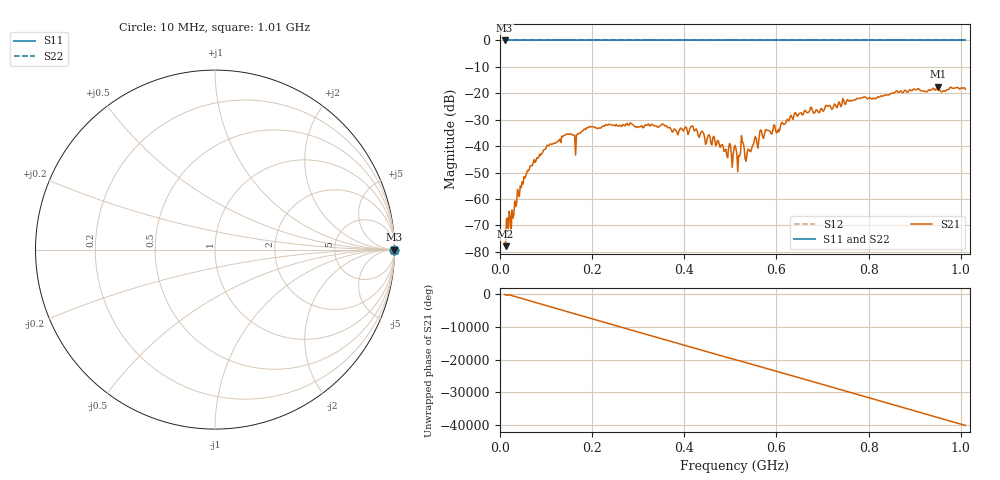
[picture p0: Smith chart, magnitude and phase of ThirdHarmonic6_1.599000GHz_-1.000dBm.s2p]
! 8/16/2025 7:03:53 PM
! C:\ANRITSUVNA\TEMP\TEMP.S2P
! CHANNEL.1
! TR.MEASUREMENT
! RAW.DATA
! RF.CORRECTION.OFF
! AVERAGING.OFF
! IF.BANDWIDTH: 5KHZ
! SWEEPTYPE:  FREQ.SWEEP(Linear)
! Reference Plane Port Info
! PORT:  PORT1  PORT2
! DISTANCE:  0  m  0  m
! TIME:  0  s  0  s
! PHASE.OFFSET:  0  deg.  0  deg.
! LOSS:  0  dB  0  dB
! REF.LOSS:  0  dB  0  dB
! REF.FREQ:  0  Hz  0  Hz
! Power Info
! POWER:  -20  dBm  -20  dBm
! EFF.POWER:  -20  dBm  -20  dBm
! SOURCE.ATTEN:  0  dB  0  dB
! TEST.ATTEN:  0  dB  0  dB
# GHZ S RI R 50.0
! FREQ.GHZ  S11RE  S11IM  S21RE  S21IM  S12RE  S12IM  S22RE  S22IM
!; PortSelection: Port_12
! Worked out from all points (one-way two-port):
!   501 points, 10 MHz to 1.01 GHz, reference 50 ohm
!   highest |S21| = -17.48 dB at 950 MHz (marker M1); lowest = -77.9 dB at 12 MHz (marker M2)
!   lowest |S11| = 0.0 dB at 10 MHz (marker M3)
!   |S11| at or under -10 dB: nowhere
!   |S22| runs from 0.0 to 0.0 dB; largest |S21 - S12| = 1.1
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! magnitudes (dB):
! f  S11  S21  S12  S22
! 10 MHz  0.0  -76.8  0.0  0.0
! 12 MHz  0.0  -77.9  0.0  0.0
! 18 MHz  0.0  -71.2  0.0  0.0
! 26 MHz  0.0  -64.2  0.0  0.0
! 42 MHz  0.0  -59.1  0.0  0.0
! 70 MHz  0.0  -47.4  0.0  0.0
! 106 MHz  0.0  -39.8  0.0  0.0
! 178 MHz  0.0  -34.4  0.0  0.0
! 234 MHz  0.0  -32.1  0.0  0.0
! 344 MHz  0.0  -32.8  0.0  0.0
! 416 MHz  0.0  -32.5  0.0  0.0
! 490 MHz  0.0  -41.1  0.0  0.0
! 510 MHz  0.0  -39.7  0.0  0.0
! 518 MHz  0.0  -43.6  0.0  0.0
! 526 MHz  0.0  -38.5  0.0  0.0
! 536 MHz  0.0  -43.0  0.0  0.0
! 566 MHz  0.0  -33.8  0.0  0.0
! 602 MHz  0.0  -34.8  0.0  0.0
! 678 MHz  0.0  -26.5  0.0  0.0
! 844 MHz  0.0  -20.6  0.0  0.0
! 950 MHz  0.0  -17.5  0.0  0.0
! 1.01 GHz  0.0  -18.5  0.0  0.0
